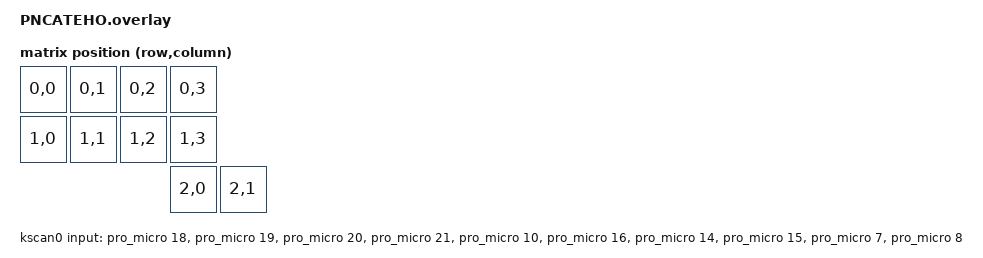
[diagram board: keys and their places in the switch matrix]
/*
 * Copyright (c) 2020 The ZMK Contributors
 *
 * SPDX-License-Identifier: MIT
 */

#include <dt-bindings/zmk/matrix_transform.h>
#include <dt-bindings/led/led.h>
//#include "layouts/default-layouts.dtsi"

/ {
    chosen {
        zmk,kscan = &kscan0;
        zmk,matrix_transform = &default_transform;
    };

    default_transform: keymap_transform_0 {
        compatible = "zmk,matrix-transform";
        columns = <4>;
        rows = <3>;
        map = <
        RC(0,0) RC(0,1) RC(0,2) RC(0,3)
        RC(1,0) RC(1,1) RC(1,2) RC(1,3)
                                RC(2,0) RC(2,1)
            >;
    };

    kscan0: kscan {
        compatible = "zmk,kscan-gpio-direct";
        label = "KSCAN";

        input-gpios
            = <&pro_micro 18 (GPIO_ACTIVE_LOW | GPIO_PULL_UP)>
            , <&pro_micro 19 (GPIO_ACTIVE_LOW | GPIO_PULL_UP)>
            , <&pro_micro 20 (GPIO_ACTIVE_LOW | GPIO_PULL_UP)>
            , <&pro_micro 21 (GPIO_ACTIVE_LOW | GPIO_PULL_UP)>
            , <&pro_micro 10 (GPIO_ACTIVE_LOW | GPIO_PULL_UP)>
            , <&pro_micro 16 (GPIO_ACTIVE_LOW | GPIO_PULL_UP)>
            , <&pro_micro 14 (GPIO_ACTIVE_LOW | GPIO_PULL_UP)>
            , <&pro_micro 15 (GPIO_ACTIVE_LOW | GPIO_PULL_UP)>
            , <&pro_micro 7 (GPIO_ACTIVE_LOW | GPIO_PULL_UP)>
            , <&pro_micro 8 (GPIO_ACTIVE_LOW | GPIO_PULL_UP)>
            ;
    };
};

// rgb,SPI
&pinctrl {
    spi3_default: spi3_default {
        group1 {
            psels = <NRF_PSEL(SPIM_MOSI, 1, 6)>;
        };
    };

    spi3_sleep: spi3_sleep {
        group1 {
            psels = <NRF_PSEL(SPIM_MOSI, 1, 6)>;
            low-power-enable;
		};
	};
};

&spi3 {
	compatible = "nordic,nrf-spim";
	status = "okay";

	pinctrl-0 = <&spi3_default>;
	pinctrl-1 = <&spi3_sleep>;
	pinctrl-names = "default", "sleep";


	led_strip: ws2812@0 {
		compatible = "worldsemi,ws2812-spi";
		label = "WS2812";

		/* SPI */
		reg = <0>; /* ignored, but necessary for SPI bindings */
		spi-max-frequency = <4000000>;

		/* ws2812 */
		chain-length = <10>; /* There are per-key RGB */
		spi-one-frame = <0x70>;
		spi-zero-frame = <0x40>;
		color-mapping = <LED_COLOR_ID_GREEN LED_COLOR_ID_RED LED_COLOR_ID_BLUE>;
	};
};

/ {
	chosen {
		zmk,underglow = &led_strip;
	};
};
